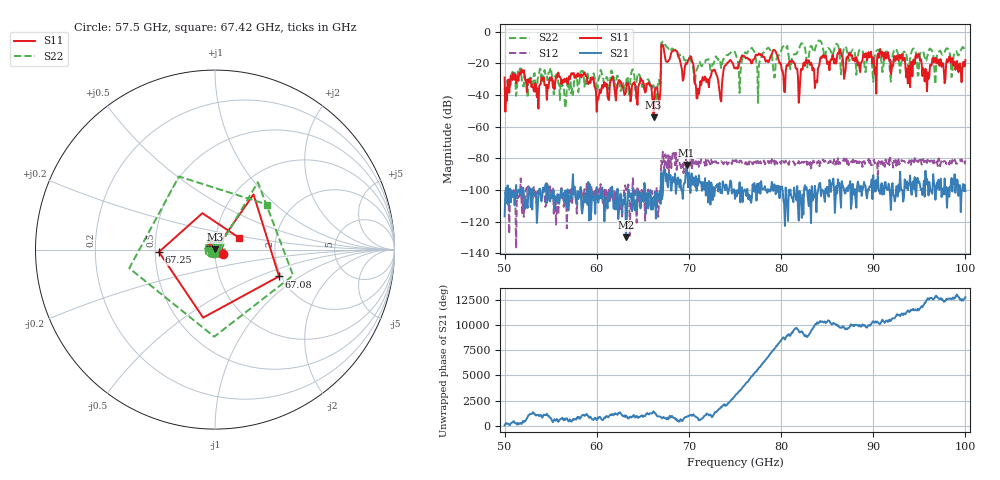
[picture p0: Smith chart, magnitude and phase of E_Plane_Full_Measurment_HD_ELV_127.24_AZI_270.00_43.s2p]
! 11/26/2026 3:37:55 PM
! C:\ANRITSUVNA\TEMP\TEMP.S2P
! CHANNEL.1
! TR.MEASUREMENT
! RAW.DATA
# HZ S RI R 50.0
! FREQ.HZ  S11RE  S11IM  S21RE  S21IM  S12RE  S12IM  S22RE  S22IM
!; PortSelection: Port_12
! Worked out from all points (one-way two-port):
!   601 points, 50 GHz to 100 GHz, reference 50 ohm
!   highest |S21| = -84.28 dB at 69.75 GHz (marker M1); lowest = -130.0 dB at 63.17 GHz (marker M2)
!   lowest |S11| = -54.0 dB at 66.17 GHz (marker M3), VSWR 1.00, Z = 50.1 + j0.145 ohm
!   |S11| at or under -10 dB: start of sweep to 67 GHz; 67.25 GHz to end of sweep
!   |S22| runs from -48.3 to -5.6 dB; largest |S21 - S12| = 0.00017
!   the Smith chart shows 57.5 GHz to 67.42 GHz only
!   S11 on the Smith chart (normalised r, x): 57.5 GHz: 1.09, -0.05; 67.08 GHz: 1.95, -0.68; 67.25 GHz: 0.52, -0.02; 67.42 GHz: 1.29, +0.18
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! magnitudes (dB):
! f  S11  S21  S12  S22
! 50 GHz  -29.0  -116.7  -101.5  -35.7
! 51.67 GHz  -26.3  -102.6  -103.8  -23.3
! 57.5 GHz  -26.1  -103.0  -100.3  -34.6
! 58.42 GHz  -27.1  -114.9  -106.6  -24.8
! 60.17 GHz  -42.8  -108.1  -106.4  -30.4
! 63.17 GHz  -37.9  -130.0  -99.5  -33.2
! 66.17 GHz  -54.0  -109.1  -106.0  -34.0
! 66.67 GHz  -41.5  -104.7  -117.1  -31.6
! 67.08 GHz  -8.3  -105.8  -83.8  -6.8
! 67.25 GHz  -10.1  -87.8  -80.7  -6.2
! 67.42 GHz  -16.6  -87.1  -77.5  -8.3
! 69.75 GHz  -20.5  -84.3  -78.6  -18.2
! 70.92 GHz  -42.2  -93.3  -81.0  -23.1
! 75 GHz  -23.3  -105.7  -81.3  -12.9
! 79.25 GHz  -11.5  -96.4  -81.3  -28.9
! 80.25 GHz  -27.9  -106.2  -81.8  -9.3
! 83.42 GHz  -24.5  -106.7  -83.2  -10.8
! 91.67 GHz  -16.7  -96.1  -80.9  -15.2
! 93.75 GHz  -32.7  -100.1  -82.4  -21.3
! 94.83 GHz  -15.0  -92.5  -82.3  -27.9
! 95.83 GHz  -37.7  -93.0  -83.0  -16.4
! 100 GHz  -17.9  -100.8  -81.4  -12.5
